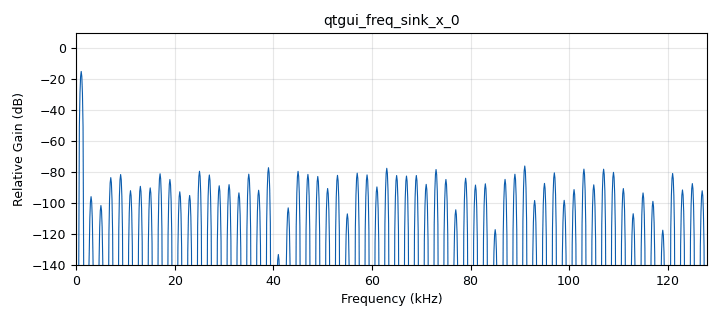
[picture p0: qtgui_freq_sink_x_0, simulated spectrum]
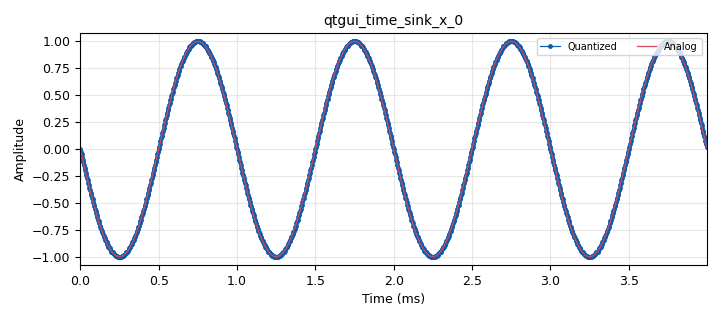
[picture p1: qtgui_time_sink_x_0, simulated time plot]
options:
  parameters:
    generate_options: qt_gui
    id: quantization
    output_language: python
  states: {}

blocks:
- name: amp
  id: variable_qtgui_range
  parameters:
    label: Amplitude
    orient: Qt.Horizontal
    start: '0'
    step: '0.1'
    stop: '32768'
    value: '1'
  states: {}
- name: freq
  id: variable_qtgui_range
  parameters:
    label: Frequency
    orient: Qt.Horizontal
    start: '100'
    step: '10'
    stop: samp_rate/2.0
    value: 1e3
  states: {}
- name: res
  id: variable_qtgui_chooser
  parameters:
    label: Resolution
    labels: '["2 bits", "3 bits", "4 bits", "5 bits", "6 bits", "7bits", "8 bits", "12 bits", "16 bits"]'
    num_opts: '0'
    options: '[2, 3, 4, 5, 6, 7, 8, 12, 16]'
    orient: Qt.QHBoxLayout
    type: int
    value: '8'
    widget: radio_buttons
  states: {}
- name: samp_rate
  id: variable
  parameters:
    value: 256e3
  states: {}
- name: analog_sig_source_x_0
  id: analog_sig_source_x
  parameters:
    amp: amp
    freq: freq
    offset: '0'
    phase: '0'
    samp_rate: samp_rate
    type: float
    waveform: analog.GR_COS_WAVE
  states: {}
- name: blocks_throttle_0
  id: blocks_throttle
  parameters:
    samples_per_second: samp_rate
    type: float
  states: {}
- name: channels_quantizer_0
  id: channels_quantizer
  parameters:
    bits: res
  states: {}
- name: import_0
  id: import
  parameters:
    imports: import math
  states: {}
- name: qtgui_freq_sink_x_0
  id: qtgui_freq_sink_x
  parameters:
    bw: samp_rate
    fc: '0'
    fftsize: '2048'
    freqhalf: 'False'
    showports: 'True'
    type: float
    wintype: firdes.WIN_BLACKMAN_hARRIS
  states: {}
- name: qtgui_time_sink_x_0
  id: qtgui_time_sink_x
  parameters:
    label1: 'Quantized '
    label2: Analog
    marker1: '0'
    nconnections: '2'
    size: '1024'
    srate: samp_rate
    type: float
    width1: '2'
    width2: '2'
  states: {}

connections:
- [analog_sig_source_x_0, '0', channels_quantizer_0, '0']
- [analog_sig_source_x_0, '0', qtgui_time_sink_x_0, '1']
- [blocks_throttle_0, '0', qtgui_freq_sink_x_0, '0']
- [blocks_throttle_0, '0', qtgui_time_sink_x_0, '0']
- [channels_quantizer_0, '0', blocks_throttle_0, '0']

metadata:
  file_format: 1
